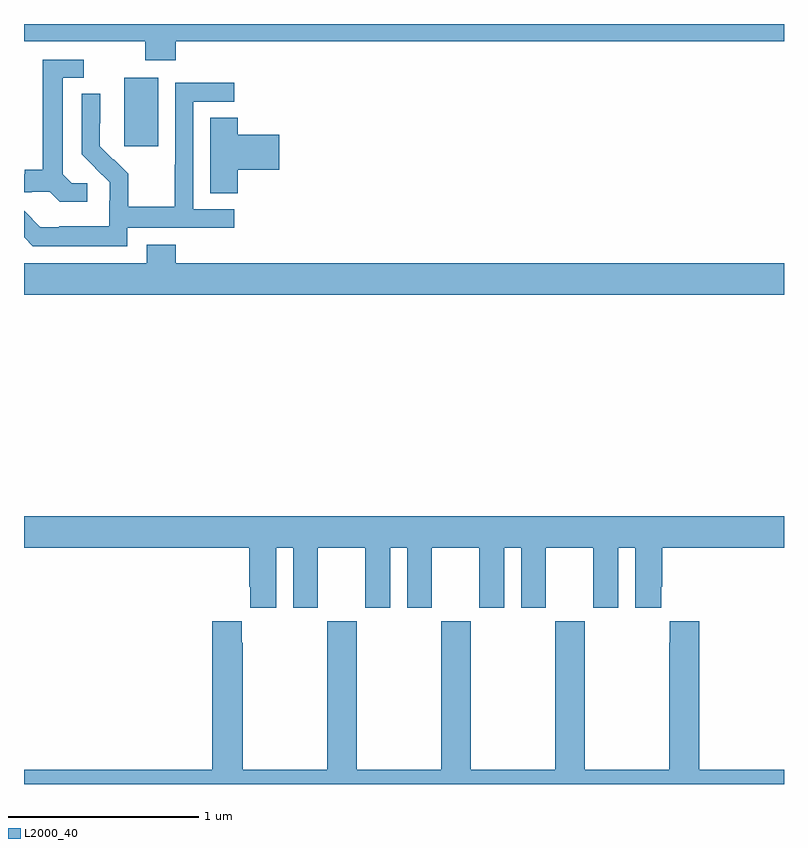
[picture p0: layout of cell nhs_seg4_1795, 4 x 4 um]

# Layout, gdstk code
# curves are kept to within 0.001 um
import gdstk
lib = gdstk.Library(unit=1e-6, precision=1e-09)
def R(c, l, rs):  # rectangles x0, y0, x1, y1
    for r in rs: c.add(gdstk.rectangle(r[:2], r[2:], *l))
def P(c, l, *ps):  # polygons
    for p in ps: c.add(gdstk.Polygon(p, *l))
L2000_40 = (2000, 40)

nhs_seg4_1795 = lib.new_cell('nhs_seg4_1795')
R(nhs_seg4_1795, L2000_40, [(203.528,808.257,203.707,808.618)])
P(nhs_seg4_1795, L2000_40, [(203.798,808.808),(207,808.808),(207,808.9),(203,808.9),(203,808.808),(203.638,808.808),(203.638,808.709),(203.798,808.709)],
  [(203.332,808.062),(203.25,808.062),(203.203,808.109),(203.203,808.617),(203.314,808.617),(203.314,808.713),(203.099,808.713),(203.099,808.133),(203.003,808.133),(203.003,808.11),(203,808.11),(203,808.014),(203.042,808.014),(203.042,808.017),(203.136,808.017),(203.188,807.965),(203.332,807.965)],
  [(203.544,807.828),(204.106,807.828),(204.106,807.924),(203.892,807.924),(203.892,808.491),(204.106,808.491),(204.106,808.59),(203.796,808.59),(203.796,808.16),(203.794,808.16),(203.794,807.937),(203.549,807.937),(203.549,808.111),(203.472,808.188),(203.469,808.185),(203.399,808.256),(203.4,808.532),(203.304,808.532),(203.304,808.214),(203.45,808.066),(203.45,807.969),(203.448,807.969),(203.448,807.835),(203.185,807.835),(203.185,807.831),(203.085,807.831),(203,807.916),(203,807.778),(203.047,807.731),(203.544,807.731)],
  [(204.125,808.133),(204.343,808.133),(204.343,808.316),(204.125,808.316),(204.125,808.406),(203.981,808.406),(203.981,808.009),(204.125,808.009)],
  [(207,807.64),(203.798,807.64),(203.798,807.739),(203.645,807.739),(203.645,807.64),(203,807.64),(203,807.476),(207,807.476)],
  [(204.328,806.144),(204.416,806.144),(204.416,805.827),(204.547,805.827),(204.547,806.144),(204.797,806.144),(204.797,805.827),(204.928,805.827),(204.928,806.144),(205.016,806.144),(205.016,805.827),(205.147,805.827),(205.147,806.144),(205.397,806.144),(205.397,805.827),(205.528,805.827),(205.528,806.144),(205.616,806.144),(205.616,805.827),(205.747,805.827),(205.747,806.144),(205.997,806.144),(205.997,805.827),(206.128,805.827),(206.128,806.144),(206.216,806.144),(206.216,805.827),(206.353,805.827),(206.353,805.939),(206.36,805.939),(206.36,806.144),(207,806.144),(207,806.308),(203,806.308),(203,806.144),(204.185,806.144),(204.185,805.939),(204.191,805.939),(204.191,805.827),(204.328,805.827)],
  [(207,804.976),(206.555,804.976),(206.555,805.756),(206.399,805.756),(206.399,805.643),(206.395,805.643),(206.395,804.976),(205.95,804.976),(205.95,805.756),(205.795,805.756),(205.795,804.976),(205.35,804.976),(205.35,805.756),(205.195,805.756),(205.195,804.976),(204.75,804.976),(204.75,805.756),(204.595,805.756),(204.595,804.976),(204.15,804.976),(204.15,805.643),(204.145,805.643),(204.145,805.756),(203.99,805.756),(203.99,804.976),(203,804.976),(203,804.9),(207,804.9)])

lib.write_gds('nhs_seg4_1795.gds')
